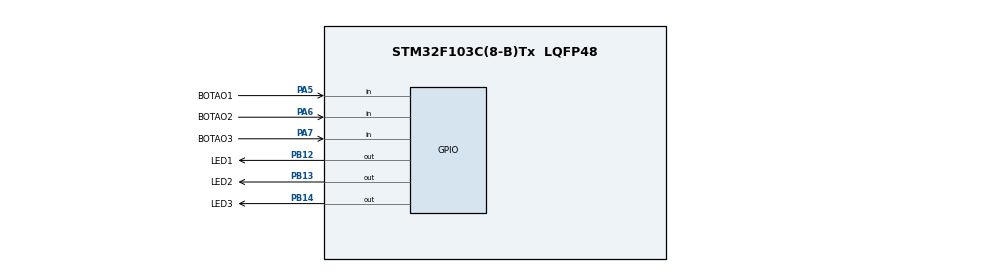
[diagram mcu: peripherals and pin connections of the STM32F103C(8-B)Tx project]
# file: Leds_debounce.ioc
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Mcu.Family=STM32F1
Mcu.Name=STM32F103C(8-B)Tx
Mcu.Package=LQFP48
NVIC.PriorityGroup=NVIC_PRIORITYGROUP_4
PA13.Mode=Serial_Wire
PA13.Signal=SYS_JTMS-SWDIO
PA14.Mode=Serial_Wire
PA14.Signal=SYS_JTCK-SWCLK
PA5.GPIO_Label=BOTAO1
PA5.GPIO_PuPd=GPIO_PULLUP
PA5.Signal=GPIO_Input
PA6.GPIO_Label=BOTAO2
PA6.GPIO_PuPd=GPIO_PULLUP
PA6.Signal=GPIO_Input
PA7.GPIO_Label=BOTAO3
PA7.GPIO_PuPd=GPIO_PULLUP
PA7.Signal=GPIO_Input
PB12.GPIO_Label=LED1
PB12.PinState=GPIO_PIN_RESET
PB12.Signal=GPIO_Output
PB13.GPIO_Label=LED2
PB13.PinState=GPIO_PIN_RESET
PB13.Signal=GPIO_Output
PB14.GPIO_Label=LED3
PB14.PinState=GPIO_PIN_RESET
PB14.Signal=GPIO_Output
PD0-OSC_IN.Mode=HSE-External-Oscillator
PD0-OSC_IN.Signal=RCC_OSC_IN
PD1-OSC_OUT.Mode=HSE-External-Oscillator
PD1-OSC_OUT.Signal=RCC_OSC_OUT
ProjectManager.HeapSize=0x200
ProjectManager.StackSize=0x400
ProjectManager.TargetToolchain=STM32CubeIDE
RCC.APB1Freq_Value=8000000
RCC.APB2Freq_Value=8000000
RCC.SYSCLKSource=RCC_SYSCLKSOURCE_HSE
board=custom

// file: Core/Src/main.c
/* USER CODE BEGIN Header */
/**
  ******************************************************************************
  * @file           : main.c
  * @brief          : Main program body
  ******************************************************************************
  * @attention
  *
  * Copyright (c) 2025 STMicroelectronics.
  * All rights reserved.
  *
  * This software is licensed under terms that can be found in the LICENSE file
  * in the root directory of this software component.
  * If no LICENSE file comes with this software, it is provided AS-IS.
  *
  ******************************************************************************
  */
/* USER CODE END Header */
#include "main.h"

/* USER CODE BEGIN PD */
#define DEB_DELAY 50
/* USER CODE END PD */

void SystemClock_Config(void);
static void MX_GPIO_Init(void);
/* USER CODE BEGIN PFP */
uint8_t debounce(GPIO_TypeDef *GPIOx, uint16_t GPIO_Pin);
void led(GPIO_TypeDef *GPIOx, uint16_t GPIO_Pin, GPIO_PinState PinState);
/* USER CODE END PFP */

int main(void)
{

  /* MCU Configuration--------------------------------------------------------*/

  /* Reset of all peripherals, Initializes the Flash interface and the Systick. */
  HAL_Init();

  /* Configure the system clock */
  SystemClock_Config();

  /* Initialize all configured peripherals */
  MX_GPIO_Init();

  /* Infinite loop */
  /* USER CODE BEGIN WHILE */
  while (1)
  {
	  if(debounce(BOTAO1_GPIO_Port, BOTAO1_Pin) == 0)
		  led(LED1_GPIO_Port, LED1_Pin, GPIO_PIN_SET);

//	  else
//		  led(LED1_GPIO_Port, LED1_Pin, GPIO_PIN_RESET);

	  if(debounce(BOTAO2_GPIO_Port, BOTAO2_Pin) == 0)
	 	  led(LED2_GPIO_Port, LED2_Pin, GPIO_PIN_SET);

//	  else
//		  led(LED2_GPIO_Port, LED2_Pin, GPIO_PIN_RESET);

	  if(debounce(BOTAO3_GPIO_Port, BOTAO3_Pin) == 0)
	  	  led(LED3_GPIO_Port, LED3_Pin, GPIO_PIN_SET);

//	  else
//		  led(LED3_GPIO_Port, LED3_Pin, GPIO_PIN_RESET);
    /* USER CODE END WHILE */

  }
}

void SystemClock_Config(void)
{
  RCC_OscInitTypeDef RCC_OscInitStruct = {0};
  RCC_ClkInitTypeDef RCC_ClkInitStruct = {0};

  /** Initializes the RCC Oscillators according to the specified parameters
  * in the RCC_OscInitTypeDef structure.
  */
  RCC_OscInitStruct.OscillatorType = RCC_OSCILLATORTYPE_HSE;
  RCC_OscInitStruct.HSEState = RCC_HSE_ON;
  RCC_OscInitStruct.PLL.PLLState = RCC_PLL_NONE;
  if (HAL_RCC_OscConfig(&RCC_OscInitStruct) != HAL_OK)
  {
    Error_Handler();
  }

  /** Initializes the CPU, AHB and APB buses clocks
  */
  RCC_ClkInitStruct.ClockType = RCC_CLOCKTYPE_HCLK|RCC_CLOCKTYPE_SYSCLK
                              |RCC_CLOCKTYPE_PCLK1|RCC_CLOCKTYPE_PCLK2;
  RCC_ClkInitStruct.SYSCLKSource = RCC_SYSCLKSOURCE_HSE;
  RCC_ClkInitStruct.AHBCLKDivider = RCC_SYSCLK_DIV1;
  RCC_ClkInitStruct.APB1CLKDivider = RCC_HCLK_DIV1;
  RCC_ClkInitStruct.APB2CLKDivider = RCC_HCLK_DIV1;

  if (HAL_RCC_ClockConfig(&RCC_ClkInitStruct, FLASH_LATENCY_0) != HAL_OK)
  {
    Error_Handler();
  }
}

static void MX_GPIO_Init(void)
{
  GPIO_InitTypeDef GPIO_InitStruct = {0};

  /* GPIO Ports Clock Enable */
  __HAL_RCC_GPIOD_CLK_ENABLE();
  __HAL_RCC_GPIOA_CLK_ENABLE();
  __HAL_RCC_GPIOB_CLK_ENABLE();

  /*Configure GPIO pin Output Level */
  HAL_GPIO_WritePin(GPIOB, LED1_Pin|LED2_Pin|LED3_Pin, GPIO_PIN_RESET);

  /*Configure GPIO pins : BOTAO1_Pin BOTAO2_Pin BOTAO3_Pin */
  GPIO_InitStruct.Pin = BOTAO1_Pin|BOTAO2_Pin|BOTAO3_Pin;
  GPIO_InitStruct.Mode = GPIO_MODE_INPUT;
  GPIO_InitStruct.Pull = GPIO_PULLUP;
  HAL_GPIO_Init(GPIOA, &GPIO_InitStruct);

  /*Configure GPIO pins : LED1_Pin LED2_Pin LED3_Pin */
  GPIO_InitStruct.Pin = LED1_Pin|LED2_Pin|LED3_Pin;
  GPIO_InitStruct.Mode = GPIO_MODE_OUTPUT_PP;
  GPIO_InitStruct.Pull = GPIO_NOPULL;
  GPIO_InitStruct.Speed = GPIO_SPEED_FREQ_LOW;
  HAL_GPIO_Init(GPIOB, &GPIO_InitStruct);

}

/* USER CODE BEGIN 4 */
uint8_t debounce(GPIO_TypeDef *GPIOx, uint16_t GPIO_Pin)
{
  if(HAL_GPIO_ReadPin(GPIOx, GPIO_Pin) == 0)
  {
	  HAL_Delay(DEB_DELAY);
	  if(HAL_GPIO_ReadPin(GPIOx, GPIO_Pin) == 0)
	  {
		  return 0;
	  }
  }
  return 1;
}
void led(GPIO_TypeDef *GPIOx, uint16_t GPIO_Pin, GPIO_PinState PinState)
{
  HAL_GPIO_WritePin(GPIOx, GPIO_Pin, PinState);
}
/* USER CODE END 4 */

void Error_Handler(void)
{
  __disable_irq();
  while (1)
  {
  }
}
